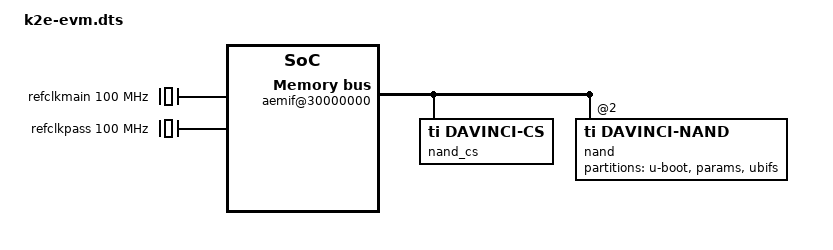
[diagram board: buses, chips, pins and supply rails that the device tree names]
/*
 * Copyright 2014 Texas Instruments, Inc.
 *
 * Keystone 2 Edison EVM device tree file
 *
 * This program is free software; you can redistribute it and/or modify
 * it under the terms of the GNU General Public License version 2 as
 * published by the Free Software Foundation.
 */
/dts-v1/;

/include/ "keystone.dtsi"
/include/ "k2e.dtsi"

/ {
	compatible = "ti,k2e-evm", "ti,keystone";

	qostree: qos-tree {
		output-queue = <910>;		/* allowed only on root node */
	};

	qostree2: qos-tree-2 {
		output-queue = <910>;		/* allowed only on root node */
	};

	/include/ "keystone-qostree.dtsi"

	soc {
		clocks {
			refclkmain: refclkmain {
				#clock-cells = <0>;
				compatible = "fixed-clock";
				clock-frequency = <100000000>;
				clock-output-names = "refclk-main";
			};

			refclkpass: refclkpass {
				#clock-cells = <0>;
				compatible = "fixed-clock";
				clock-frequency = <100000000>;
				clock-output-names = "refclk-pass";
			};
		};

		aemif@30000000 {
			nand_cs:cs2@30000000 {
				compatible = "ti,davinci-cs";
				#address-cells = <1>;
				#size-cells = <1>;
				/* all timings in nanoseconds */
				ti,davinci-cs-ta = <12>;
				ti,davinci-cs-rhold = <6>;
				ti,davinci-cs-rstrobe = <23>;
				ti,davinci-cs-rsetup = <9>;
				ti,davinci-cs-whold = <8>;
				ti,davinci-cs-wstrobe = <23>;
				ti,davinci-cs-wsetup = <8>;
			};

			nand@2,0 {
				compatible = "ti,davinci-nand";
				reg = <2 0x0 0x8000000
					6 0x0 0x100>;
				#address-cells = <1>;
				#size-cells = <1>;
				ti,davinci-chipselect = <0>;
				ti,davinci-mask-ale = <0x2000>;
				ti,davinci-mask-cle = <0x4000>;
				ti,davinci-mask-chipsel = <0>;
				ti,davinci-ecc-mode = "hw";
				ti,davinci-ecc-bits = <4>;
				ti,davinci-nand-use-bbt;
				ti,davinci-no-subpage-write;
				clocks = <&clkaemif>;
				clock-names = "aemif";

				partition@0 {
					label = "u-boot";
					reg = <0x0 0x100000>;
					read-only;
				};

				partition@100000 {
					label = "params";
					reg = <0x100000 0x80000>;
					read-only;
				};

				partition@180000 {
					label = "ubifs";
					reg = <0x180000 0x1fe80000>;
				};
			};
		};

		hwqueue0: hwqueue@2a40000 {
			queues {
				qos-inputs-1 {
					values			= <8000 192>;
					pdsp-id			= <3>;
					ticks-per-sec		= <10000>;
					qos-cfg			= <4 50 1 1 0xf00 0 0>;
					sched-port-configs	= <0 20 0x1c8>;
					drop-out-profiles	= <0 36 0xc>;
					drop-cfg-profiles	= <0 8 0x14>;
					drop-queue-configs	= <0 80 0x4>;
					drop-policies           = <&droppolicies>;
					qos-tree                = <&qostree>;
					statistics-profiles	= <0 48>;
					reserved;
				};
				qos-inputs-2 {
					values			= <6400 192>;
					pdsp-id			= <7>;
					ticks-per-sec		= <10000>;
					qos-cfg			= <4 50 1 1 0xf00 0 0>;
					sched-port-configs	= <0 20 0x1c8>;
					drop-out-profiles	= <0 36 0xc>;
					drop-cfg-profiles	= <0 8 0x14>;
					drop-queue-configs	= <0 80 0x4>;
					drop-policies           = <&droppolicies>;
					qos-tree                = <&qostree2>;
					statistics-profiles	= <0 48>;
					reserved;
				};
			};
		};
	};
};

